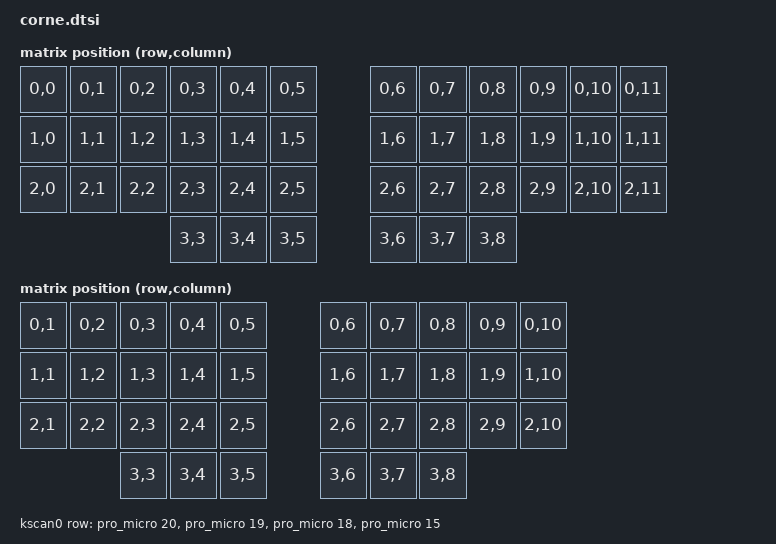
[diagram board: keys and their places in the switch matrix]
/*
 * Copyright (c) 2020 Pete Johanson
 *
 * SPDX-License-Identifier: MIT
 */

#include <dt-bindings/zmk/matrix_transform.h>
#include <dt-bindings/led/led.h>
#include <layouts/foostan/corne/5column.dtsi>
#include <layouts/foostan/corne/6column.dtsi>


&foostan_corne_6col_layout {
    transform = <&default_transform>;
};

&foostan_corne_5col_layout {
    transform = <&five_column_transform>;
};

/ {
    chosen {
        zmk,underglow = &led_strip;
        zephyr,display = &ssd1306;
        zmk,display = &ssd1306;
        zmk,kscan = &kscan0;
        zmk,physical-layout = &foostan_corne_6col_layout;
    };

    default_transform: keymap_transform_0 {
        compatible = "zmk,matrix-transform";
        columns = <12>;
        rows = <4>;
// | SW1  | SW2  | SW3  | SW4  | SW5  | SW6  |   | SW6  | SW5  | SW4  | SW3  | SW2  | SW1  |
// | SW7  | SW8  | SW9  | SW10 | SW11 | SW12 |   | SW12 | SW11 | SW10 | SW9  | SW8  | SW7  |
// | SW13 | SW14 | SW15 | SW16 | SW17 | SW18 |   | SW18 | SW17 | SW16 | SW15 | SW14 | SW13 |
//                      | SW19 | SW20 | SW21 |   | SW21 | SW20 | SW19 |
        map = <
RC(0,0) RC(0,1) RC(0,2) RC(0,3) RC(0,4) RC(0,5)  RC(0,6) RC(0,7) RC(0,8) RC(0,9) RC(0,10) RC(0,11)
RC(1,0) RC(1,1) RC(1,2) RC(1,3) RC(1,4) RC(1,5)  RC(1,6) RC(1,7) RC(1,8) RC(1,9) RC(1,10) RC(1,11)
RC(2,0) RC(2,1) RC(2,2) RC(2,3) RC(2,4) RC(2,5)  RC(2,6) RC(2,7) RC(2,8) RC(2,9) RC(2,10) RC(2,11)
                        RC(3,3) RC(3,4) RC(3,5)  RC(3,6) RC(3,7) RC(3,8)
        >;
    };

    five_column_transform: keymap_transform_1 {
        compatible = "zmk,matrix-transform";
        columns = <10>;
        rows = <4>;
// | SW2  | SW3  | SW4  | SW5  | SW6  |   | SW6  | SW5  | SW4  | SW3  | SW2  |
// | SW8  | SW9  | SW10 | SW11 | SW12 |   | SW12 | SW11 | SW10 | SW9  | SW8  |
// | SW14 | SW15 | SW16 | SW17 | SW18 |   | SW18 | SW17 | SW16 | SW15 | SW14 |
//               | SW19 | SW20 | SW21 |   | SW21 | SW20 | SW19 |
        map = <
RC(0,1) RC(0,2) RC(0,3) RC(0,4) RC(0,5)    RC(0,6) RC(0,7) RC(0,8) RC(0,9) RC(0,10)
RC(1,1) RC(1,2) RC(1,3) RC(1,4) RC(1,5)    RC(1,6) RC(1,7) RC(1,8) RC(1,9) RC(1,10)
RC(2,1) RC(2,2) RC(2,3) RC(2,4) RC(2,5)    RC(2,6) RC(2,7) RC(2,8) RC(2,9) RC(2,10)
                RC(3,3) RC(3,4) RC(3,5)    RC(3,6) RC(3,7) RC(3,8)
        >;
    };

    kscan0: kscan {
        compatible = "zmk,kscan-gpio-matrix";
        wakeup-source;

        diode-direction = "col2row";
        row-gpios
            = <&pro_micro 20 (GPIO_ACTIVE_HIGH | GPIO_PULL_DOWN)>,
              <&pro_micro 19 (GPIO_ACTIVE_HIGH | GPIO_PULL_DOWN)>,
              <&pro_micro 18 (GPIO_ACTIVE_HIGH | GPIO_PULL_DOWN)>,
              <&pro_micro 15 (GPIO_ACTIVE_HIGH | GPIO_PULL_DOWN)>;
    };
};

&pinctrl {
    i2c0_default: i2c0_default {
        group1 {
            psels = <NRF_PSEL(TWIM_SDA, 0, 2)>, /* */
                    <NRF_PSEL(TWIM_SCL, 0, 3)>; /*  */
        };
    };
    i2c0_sleep: i2c0_sleep {
        group1 {
            psels = <NRF_PSEL(TWIM_SDA, 0, 2)>,
                    <NRF_PSEL(TWIM_SCL, 0, 3)>;
            low-power-enable;
            /* Leave I2C lines pulled up in sleep so they do not fight the bus.
             * I2C requires pull-ups; use bias-pull-up here so the pins idle safely.
             */
            bias-pull-up;
        };
    };
    spi3_default: spi3_default {
        group1 {
            psels = <NRF_PSEL(SPIM_MOSI, 0, 0)>;
        };
    };
    spi3_sleep: spi3_sleep {
        group1 {
            psels = <NRF_PSEL(SPIM_MOSI, 0, 0)>;
            low-power-enable;
            /* Pull MOSI down in sleep so the WS2812 data line is not left floating
             * and won't emit spurious data while the MCU is asleep.
             */
            bias-pull-down;
        };
    };
};

&i2c0 {
    compatible = "nordic,nrf-twim";
    status = "okay";

    pinctrl-0 = <&i2c0_default>;
    pinctrl-1 = <&i2c0_sleep>;
    pinctrl-names = "default", "sleep";

    /* SSD1306 OLED node (labelled &ssd1306 so chosen can reference it) */
    ssd1306: ssd1306@3c {
        compatible = "solomon,ssd1306"; /* Change to "sh1106" if using SH1106 */
        reg = <0x3C>; /* I2C address of the OLED display */

        status = "okay";

        /* Display properties */
        width = <128>; /* Width of the display in pixels */
        height = <32>; /* Height of the display in pixels */
        segment-offset = <0>;
        page-offset = <0>;
        display-offset = <0>;
        multiplex-ratio = <32>;
        prechargep = <0x22>;
    };
};

&spi3 {
    compatible = "nordic,nrf-spim";
    status = "okay";

    pinctrl-0 = <&spi3_default>;
    pinctrl-1 = <&spi3_sleep>;
    pinctrl-names = "default", "sleep";

    led_strip: ws2812@0 {
        compatible = "worldsemi,ws2812-spi";

        /* SPI */
        reg = <0>; /* ignored, but necessary for SPI bindings */
        spi-max-frequency = <4000000>;

        /* WS2812 */
        chain-length = <42>; /* number of LEDs */
        spi-one-frame = <0x70>;
        spi-zero-frame = <0x40>;
        color-mapping = <LED_COLOR_ID_GREEN
                         LED_COLOR_ID_RED
                         LED_COLOR_ID_BLUE>;
    };
};
